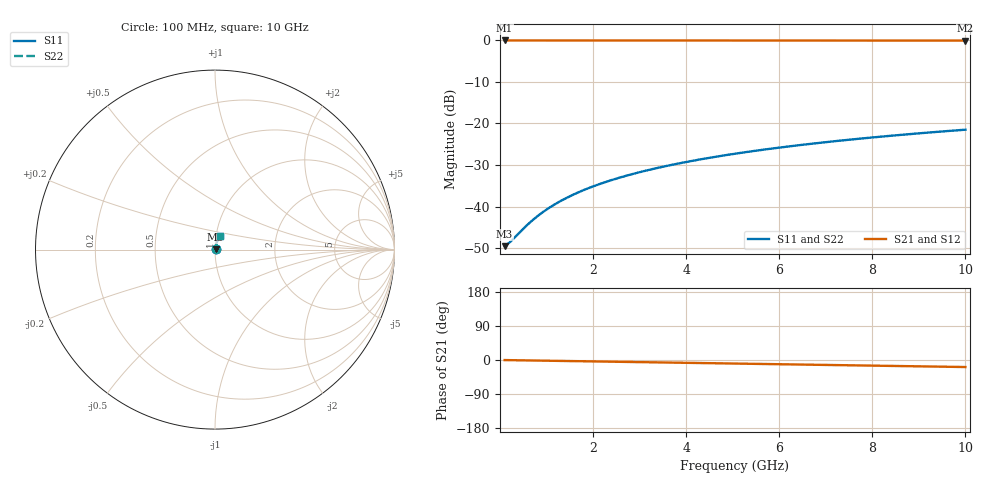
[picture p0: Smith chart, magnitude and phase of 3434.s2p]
# Hz S RI R 50.00
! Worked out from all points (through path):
!   100 points, 100 MHz to 10 GHz, reference 50 ohm
!   highest |S21| = -0.03 dB at 100 MHz (marker M1); lowest = -0.1 dB at 10 GHz (marker M2)
!   group delay of S21, straight-line fit = 5.16 ps
!   lowest |S11| = -49.5 dB at 100 MHz (marker M3), VSWR 1.01, Z = 50.3 + j0.0852 ohm
!   |S11| at or under -10 dB: start of sweep to end of sweep
!   |S22| runs from -49.5 to -21.5 dB; largest |S21 - S12| = 0
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1e8  0.00323 0.000847  0.9968 -0.00323  0.9968 -0.00323  0.00323 0.000847
2e8  0.00325 0.00169  0.9967 -0.00646  0.9967 -0.00646  0.00325 0.00169
6e8  0.00339 0.00508  0.9965 -0.0194  0.9965 -0.0194  0.00339 0.00508
7e8  0.00343 0.00592  0.9964 -0.0226  0.9964 -0.0226  0.00343 0.00592
9e8  0.00353 0.00761  0.9962 -0.0291  0.9962 -0.0291  0.00353 0.00761
1.1e9  0.00365 0.0093  0.996 -0.0355  0.996 -0.0355  0.00365 0.0093
1.3e9  0.0038 0.011  0.9957 -0.042  0.9957 -0.042  0.0038 0.011
1.5e9  0.00396 0.0127  0.9954 -0.0484  0.9954 -0.0484  0.00396 0.0127
1.8e9  0.00424 0.0152  0.9948 -0.0581  0.9948 -0.0581  0.00424 0.0152
2.1e9  0.00458 0.0177  0.9941 -0.0678  0.9941 -0.0678  0.00458 0.0177
2.5e9  0.00509 0.0211  0.9931 -0.0807  0.9931 -0.0807  0.00509 0.0211
2.9e9  0.0057 0.0244  0.9918 -0.0935  0.9918 -0.0935  0.0057 0.0244
3.4e9  0.00657 0.0285  0.9901 -0.1096  0.9901 -0.1096  0.00657 0.0285
3.8e9  0.00737 0.0318  0.9884 -0.1224  0.9884 -0.1224  0.00737 0.0318
4.2e9  0.00825 0.0351  0.9866 -0.1352  0.9866 -0.1352  0.00825 0.0351
4.6e9  0.00921 0.0383  0.9846 -0.148  0.9846 -0.148  0.00921 0.0383
5.1e9  0.0105 0.0423  0.9819 -0.1639  0.9819 -0.1639  0.0105 0.0423
5.9e9  0.0129 0.0486  0.977 -0.1892  0.977 -0.1892  0.0129 0.0486
6.7e9  0.0156 0.0548  0.9714 -0.2144  0.9714 -0.2144  0.0156 0.0548
7.5e9  0.0187 0.0609  0.9651 -0.2394  0.9651 -0.2394  0.0187 0.0609
8.4e9  0.0224 0.0674  0.9572 -0.2673  0.9572 -0.2673  0.0224 0.0674
1e10  0.03 0.0785  0.9411 -0.3161  0.9411 -0.3161  0.03 0.0785
